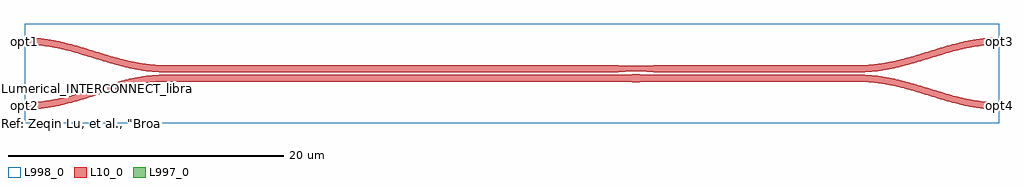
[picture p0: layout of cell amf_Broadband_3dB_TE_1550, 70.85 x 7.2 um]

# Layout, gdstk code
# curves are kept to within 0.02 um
import gdstk
lib = gdstk.Library(unit=1e-6, precision=1e-09)
def R(c, l, rs):  # rectangles x0, y0, x1, y1
    for r in rs: c.add(gdstk.rectangle(r[:2], r[2:], *l))
def P(c, l, *ps):  # polygons
    for p in ps: c.add(gdstk.Polygon(p, *l))
L10_0 = (10, 0)
L997_0 = (997, 0)
L998_0 = (998, 0)

amf_broadband_3db_te_155 = lib.new_cell('amf_Broadband_3dB_TE_1550')
R(amf_broadband_3db_te_155, L10_0, [(0,1,0.1,1.5), (70.65,1,70.75,1.5), (44.1,2.95,44.65,3.55), (10.1,3,43.1,3.5), (45.65,3,60.65,3.5), (10.1,3.7,43.1,4.2), (45.65,3.7,60.65,4.2), (44.1,3.75,44.65,4.15), (0,5.7,0.1,6.2), (70.65,5.7,70.75,6.2)])
P(amf_broadband_3db_te_155, L10_0, [(10.1,3.7),(9.038,3.757),(7.903,3.932),(6.598,4.245),(3.762,5.091),(2.592,5.394),(1.409,5.61),(0.708,5.68),(0.1,5.7),(0.1,6.2),(1.162,6.143),(2.297,5.968),(3.602,5.655),(6.438,4.809),(7.608,4.506),(8.791,4.29),(9.492,4.22),(10.1,4.2)],
  [(0.1,1),(0.1,1.5),(0.708,1.52),(1.409,1.59),(2.592,1.806),(3.762,2.109),(6.598,2.955),(7.903,3.268),(9.038,3.443),(10.1,3.5),(10.1,3),(9.492,2.98),(8.791,2.91),(7.608,2.694),(6.438,2.391),(3.602,1.545),(2.297,1.232),(1.162,1.057)],
  [(60.65,3.7),(60.65,4.2),(61.258,4.22),(61.959,4.29),(63.142,4.506),(64.312,4.809),(67.148,5.655),(68.453,5.968),(69.588,6.143),(70.65,6.2),(70.65,5.7),(70.042,5.68),(69.341,5.61),(68.158,5.394),(66.988,5.091),(64.152,4.245),(62.847,3.932),(61.712,3.757)],
  [(70.65,1),(69.588,1.057),(68.453,1.232),(67.148,1.545),(64.312,2.391),(63.142,2.694),(61.959,2.91),(61.258,2.98),(60.65,3),(60.65,3.5),(61.712,3.443),(62.847,3.268),(64.152,2.955),(66.988,2.109),(68.158,1.806),(69.341,1.59),(70.042,1.52),(70.65,1.5)],
  [(44.65,2.95),(44.65,3.55),(45.65,3.5),(45.65,3)],
  [(45.65,3.7),(44.65,3.75),(44.65,4.15),(45.65,4.2)],
  [(44.1,2.95),(43.1,3),(43.1,3.5),(44.1,3.55)],
  [(43.1,3.7),(43.1,4.2),(44.1,4.15),(44.1,3.75)])
R(amf_broadband_3db_te_155, L998_0, [(0,0,70.75,7.2)])
amf_broadband_3db_te_155.add(gdstk.FlexPath([(0.05,5.95),(-0.05,5.95)], 0.5, ends="flush", simple_path=True, layer=997, datatype=0))  # L997_0
amf_broadband_3db_te_155.add(gdstk.FlexPath([(0.05,1.25),(-0.05,1.25)], 0.5, ends="flush", simple_path=True, layer=997, datatype=0))  # L997_0
amf_broadband_3db_te_155.add(gdstk.FlexPath([(70.7,5.95),(70.8,5.95)], 0.5, ends="flush", simple_path=True, layer=997, datatype=0))  # L997_0
amf_broadband_3db_te_155.add(gdstk.FlexPath([(70.7,1.25),(70.8,1.25)], 0.5, ends="flush", simple_path=True, layer=997, datatype=0))  # L997_0
amf_broadband_3db_te_155.add(gdstk.Label('Ref: Zeqin Lu, et al., "Broadband silicon photonic directional coupler using asymmetric-waveguide based phase control," Optics Express, 2015', (1,0), layer=1003, texttype=0))
amf_broadband_3db_te_155.add(gdstk.Label('opt1', (0,5.95), layer=997, texttype=0))
amf_broadband_3db_te_155.add(gdstk.Label('opt2', (0,1.25), layer=997, texttype=0))
amf_broadband_3db_te_155.add(gdstk.Label('opt3', (70.75,5.95), layer=997, texttype=0))
amf_broadband_3db_te_155.add(gdstk.Label('opt4', (70.75,1.25), layer=997, texttype=0))
amf_broadband_3db_te_155.add(gdstk.Label('Component=amf_Broadband_3dB_TE_1550', (1,5), layer=998, texttype=0))
amf_broadband_3db_te_155.add(gdstk.Label('Lumerical_INTERCONNECT_library=Design kits/SiEPIC_AMF', (1,2.5), layer=998, texttype=0))

lib.write_gds('amf_Broadband_3dB_TE_1550.gds')
